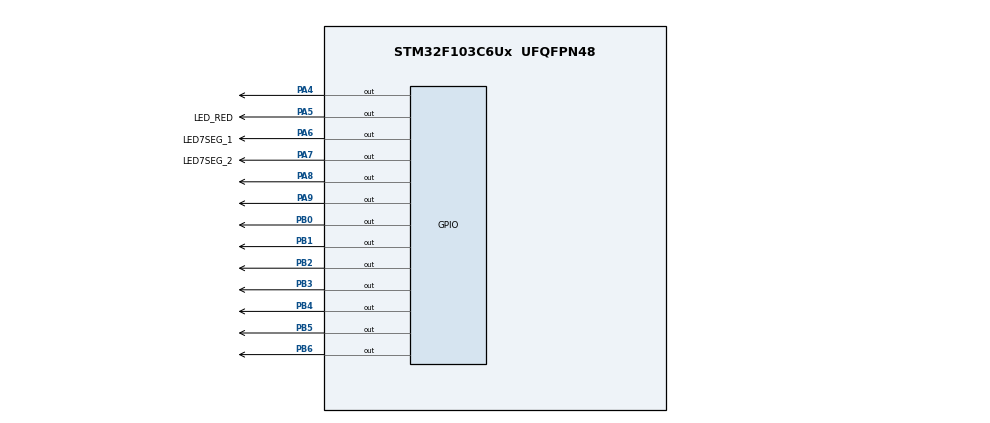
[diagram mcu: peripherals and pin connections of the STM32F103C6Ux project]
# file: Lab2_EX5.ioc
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Mcu.Family=STM32F1
Mcu.Name=STM32F103C6Ux
Mcu.Package=UFQFPN48
NVIC.PriorityGroup=NVIC_PRIORITYGROUP_4
NVIC.TIM2_IRQn=true\:0\:0\:false\:false\:true\:true\:true\:true
PA4.Signal=GPIO_Output
PA5.GPIO_Label=LED_RED
PA5.Signal=GPIO_Output
PA6.GPIO_Label=LED7SEG_1
PA6.Signal=GPIO_Output
PA7.GPIO_Label=LED7SEG_2
PA7.Signal=GPIO_Output
PA8.Signal=GPIO_Output
PA9.Signal=GPIO_Output
PB0.Signal=GPIO_Output
PB1.Signal=GPIO_Output
PB2.Signal=GPIO_Output
PB3.Signal=GPIO_Output
PB4.Signal=GPIO_Output
PB5.Signal=GPIO_Output
PB6.Signal=GPIO_Output
ProjectManager.HeapSize=0x200
ProjectManager.StackSize=0x400
ProjectManager.TargetToolchain=STM32CubeIDE
RCC.APB1Freq_Value=8000000
RCC.APB2Freq_Value=8000000
TIM2.Period=9
TIM2.Prescaler=7999
VP_TIM2_VS_ClockSourceINT.Mode=Internal
board=custom

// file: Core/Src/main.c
/* USER CODE BEGIN Header */
/**
  ******************************************************************************
  * @file           : main.c
  * @brief          : Main program body
  ******************************************************************************
  * @attention
  *
  * Copyright (c) 2023 STMicroelectronics.
  * All rights reserved.
  *
  * This software is licensed under terms that can be found in the LICENSE file
  * in the root directory of this software component.
  * If no LICENSE file comes with this software, it is provided AS-IS.
  *
  ******************************************************************************
  */
/* USER CODE END Header */
#include "main.h"

/* USER CODE BEGIN Includes */
#include "software_timer.h"
/* USER CODE END Includes */

TIM_HandleTypeDef htim2;

void SystemClock_Config(void);
static void MX_GPIO_Init(void);
static void MX_TIM2_Init(void);

int main(void)
{

  /* MCU Configuration--------------------------------------------------------*/

  /* Reset of all peripherals, Initializes the Flash interface and the Systick. */
  HAL_Init();

  /* Configure the system clock */
  SystemClock_Config();

  /* Initialize all configured peripherals */
  MX_GPIO_Init();
  MX_TIM2_Init();
  HAL_TIM_Base_Start_IT(&htim2);
  /* USER CODE BEGIN 2 */
  void led7seg_on(int pin) {
    		HAL_GPIO_WritePin(GPIOB, pin, RESET);
    }

    void led7seg_off(int pin) {
    		HAL_GPIO_WritePin(GPIOB, pin, SET);
    }

    void led_on(int pin) {
    		HAL_GPIO_WritePin(GPIOA, pin, RESET);
    }

    void led_off(int pin) {
    		HAL_GPIO_WritePin(GPIOA, pin, SET);
    }

    void led7seg(int a, int b, int c, int d, int e, int f, int g) {
    		if(a == 1) led7seg_on(GPIO_PIN_0);
    		else led7seg_off(GPIO_PIN_0);

    		if(b == 1) led7seg_on(GPIO_PIN_1);
    		else led7seg_off(GPIO_PIN_1);

    		if(c == 1) led7seg_on(GPIO_PIN_2);
    		else led7seg_off(GPIO_PIN_2);

    		if(d == 1) led7seg_on(GPIO_PIN_3);
    		else led7seg_off(GPIO_PIN_3);

    		if(e == 1) led7seg_on(GPIO_PIN_4);
    		else led7seg_off(GPIO_PIN_4);

    		if(f == 1) led7seg_on(GPIO_PIN_5);
    		else led7seg_off(GPIO_PIN_5);

    		if(g == 1) led7seg_on(GPIO_PIN_6);
    		else led7seg_off(GPIO_PIN_6);
    	}

    void led_EN(int a, int b, int c, int d) {
    		if(a == 1) led_on(GPIO_PIN_6);
    		else led_off(GPIO_PIN_6);

    		if(b == 1) led_on(GPIO_PIN_7);
    		else led_off(GPIO_PIN_7);

    		if(c == 1) led_on(GPIO_PIN_8);
    		else led_off(GPIO_PIN_8);

    		if(d == 1) led_on(GPIO_PIN_9);
    		else led_off(GPIO_PIN_9);
    }

    void display_led(int counter) {
  	  if(counter == 0) {
  		  led7seg(1, 1, 1, 1, 1, 1, 0);
  	  }
  	  else if(counter == 1) {
  		  led7seg(0, 1, 1, 0, 0, 0, 0);
  	  }
  	  else if(counter == 2) {
  		  led7seg(1, 1, 0, 1, 1, 0, 1);
  	  }
  	  else if(counter == 3) {
  		  led7seg(1, 1, 1, 1, 0, 0, 1);
  	  }
  	  else if(counter == 4) {
      			 led7seg(0, 1, 1, 0, 0, 1, 1);
  	  }
  	  else if(counter == 5) {
      			 led7seg(1, 0, 1, 1, 0, 1, 1);
  	  }
  	  else if(counter == 6) {
      			 led7seg(1, 0, 1, 1, 1, 1, 1);
  	  }
  	  else if(counter == 7) {
      			 led7seg(1, 1, 1, 0, 0, 0, 0);
  	  }
  	  else if(counter == 8) {
  		  led7seg(1, 1, 1, 1, 1, 1, 1);
  	  }
  	  else {
  		  led7seg(1, 1, 1, 1, 0, 1, 1);
  	  }
    }

  const int MAX_LED = 4;
  int index_led = 0;
  int hour = 15, minute = 8, second = 50;
//  int led_buffer [4] = {hour/10, hour%10, minute/10, minute%10};
  setTimer1(100);

  void update7SEG(int index){
	  	  second ++;
	  	  if ( second >= 60) {
	  		  second = 0;
	  		  minute ++;
	  	  }
	  	  if( minute >= 60) {
	  		  minute = 0;
	  		  hour ++;
	  	  }
	  	  if( hour >=24){
	  		  hour = 0;
	  	  }
  	  switch (index){
  	  case 0:
  		  // Display the first 7 SEG with led_buffer [0]
  		  led_EN(1, 0, 0, 0);
  		  display_led(hour/10);
  		  break ;
  	  case 1:
  		  // Display the second 7 SEG with led_buffer [1]
  		  led_EN(0, 1, 0, 0);
  		  display_led(hour%10);
  		  break ;
  	  case 2:
  		  // Display the third 7 SEG with led_buffer [2]
  		  led_EN(0, 0, 1, 0);
  		  display_led(minute/10);
  		  break ;
  	  case 3:
  		  // Display the forth 7 SEG with led_buffer [3]
  		  led_EN(0, 0, 0, 1);
  		  display_led(minute%10);
  		  break ;
  	  default:
  		  break ;
  	  }
    }
  /* USER CODE END 2 */

  /* Infinite loop */
  while (1)
  {

	  if(index_led > MAX_LED) index_led = 0;
	  if(timer1_flag == 1) {
		  setTimer1(10);
		  update7SEG(index_led++);
	  }
  }
}

void SystemClock_Config(void)
{
  RCC_OscInitTypeDef RCC_OscInitStruct = {0};
  RCC_ClkInitTypeDef RCC_ClkInitStruct = {0};

  /** Initializes the RCC Oscillators according to the specified parameters
  * in the RCC_OscInitTypeDef structure.
  */
  RCC_OscInitStruct.OscillatorType = RCC_OSCILLATORTYPE_HSI;
  RCC_OscInitStruct.HSIState = RCC_HSI_ON;
  RCC_OscInitStruct.HSICalibrationValue = RCC_HSICALIBRATION_DEFAULT;
  RCC_OscInitStruct.PLL.PLLState = RCC_PLL_NONE;
  if (HAL_RCC_OscConfig(&RCC_OscInitStruct) != HAL_OK)
  {
    Error_Handler();
  }

  /** Initializes the CPU, AHB and APB buses clocks
  */
  RCC_ClkInitStruct.ClockType = RCC_CLOCKTYPE_HCLK|RCC_CLOCKTYPE_SYSCLK
                              |RCC_CLOCKTYPE_PCLK1|RCC_CLOCKTYPE_PCLK2;
  RCC_ClkInitStruct.SYSCLKSource = RCC_SYSCLKSOURCE_HSI;
  RCC_ClkInitStruct.AHBCLKDivider = RCC_SYSCLK_DIV1;
  RCC_ClkInitStruct.APB1CLKDivider = RCC_HCLK_DIV1;
  RCC_ClkInitStruct.APB2CLKDivider = RCC_HCLK_DIV1;

  if (HAL_RCC_ClockConfig(&RCC_ClkInitStruct, FLASH_LATENCY_0) != HAL_OK)
  {
    Error_Handler();
  }
}

static void MX_TIM2_Init(void)
{

  TIM_ClockConfigTypeDef sClockSourceConfig = {0};
  TIM_MasterConfigTypeDef sMasterConfig = {0};

  htim2.Instance = TIM2;
  htim2.Init.Prescaler = 7999;
  htim2.Init.CounterMode = TIM_COUNTERMODE_UP;
  htim2.Init.Period = 9;
  htim2.Init.ClockDivision = TIM_CLOCKDIVISION_DIV1;
  htim2.Init.AutoReloadPreload = TIM_AUTORELOAD_PRELOAD_DISABLE;
  if (HAL_TIM_Base_Init(&htim2) != HAL_OK)
  {
    Error_Handler();
  }
  sClockSourceConfig.ClockSource = TIM_CLOCKSOURCE_INTERNAL;
  if (HAL_TIM_ConfigClockSource(&htim2, &sClockSourceConfig) != HAL_OK)
  {
    Error_Handler();
  }
  sMasterConfig.MasterOutputTrigger = TIM_TRGO_RESET;
  sMasterConfig.MasterSlaveMode = TIM_MASTERSLAVEMODE_DISABLE;
  if (HAL_TIMEx_MasterConfigSynchronization(&htim2, &sMasterConfig) != HAL_OK)
  {
    Error_Handler();
  }

}

static void MX_GPIO_Init(void)
{
  GPIO_InitTypeDef GPIO_InitStruct = {0};

  /* GPIO Ports Clock Enable */
  __HAL_RCC_GPIOA_CLK_ENABLE();
  __HAL_RCC_GPIOB_CLK_ENABLE();

  /*Configure GPIO pin Output Level */
  HAL_GPIO_WritePin(GPIOA, GPIO_PIN_4|LED_RED_Pin|LED7SEG_1_Pin|LED7SEG_2_Pin
                          |GPIO_PIN_8|GPIO_PIN_9, GPIO_PIN_RESET);

  /*Configure GPIO pin Output Level */
  HAL_GPIO_WritePin(GPIOB, GPIO_PIN_0|GPIO_PIN_1|GPIO_PIN_2|GPIO_PIN_3
                          |GPIO_PIN_4|GPIO_PIN_5|GPIO_PIN_6, GPIO_PIN_RESET);

  /*Configure GPIO pins : PA4 LED_RED_Pin LED7SEG_1_Pin LED7SEG_2_Pin
                           PA8 PA9 */
  GPIO_InitStruct.Pin = GPIO_PIN_4|LED_RED_Pin|LED7SEG_1_Pin|LED7SEG_2_Pin
                          |GPIO_PIN_8|GPIO_PIN_9;
  GPIO_InitStruct.Mode = GPIO_MODE_OUTPUT_PP;
  GPIO_InitStruct.Pull = GPIO_NOPULL;
  GPIO_InitStruct.Speed = GPIO_SPEED_FREQ_LOW;
  HAL_GPIO_Init(GPIOA, &GPIO_InitStruct);

  /*Configure GPIO pins : PB0 PB1 PB2 PB3
                           PB4 PB5 PB6 */
  GPIO_InitStruct.Pin = GPIO_PIN_0|GPIO_PIN_1|GPIO_PIN_2|GPIO_PIN_3
                          |GPIO_PIN_4|GPIO_PIN_5|GPIO_PIN_6;
  GPIO_InitStruct.Mode = GPIO_MODE_OUTPUT_PP;
  GPIO_InitStruct.Pull = GPIO_NOPULL;
  GPIO_InitStruct.Speed = GPIO_SPEED_FREQ_LOW;
  HAL_GPIO_Init(GPIOB, &GPIO_InitStruct);

}

/* USER CODE BEGIN 4 */
void HAL_TIM_PeriodElapsedCallback(TIM_HandleTypeDef *htim) {
	timer1Run();
}
/* USER CODE END 4 */

void Error_Handler(void)
{
  __disable_irq();
  while (1)
  {
  }
}
